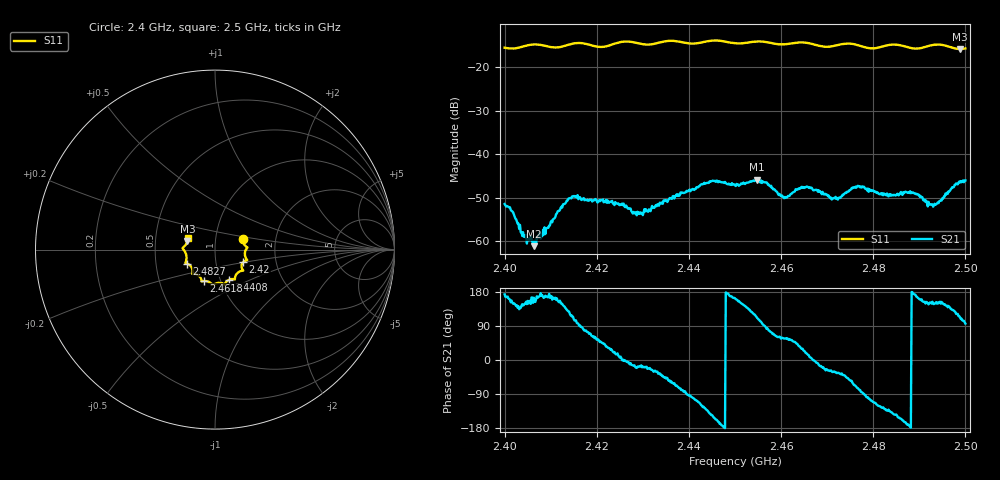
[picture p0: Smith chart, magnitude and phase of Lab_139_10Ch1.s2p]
# Hz S RI R 50
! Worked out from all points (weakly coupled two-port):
!   601 points, 2.4 GHz to 2.5 GHz, reference 50 ohm
!   highest |S21| = -45.88 dB at 2.4547 GHz (marker M1); lowest = -61.1 dB at 2.4063 GHz (marker M2)
!   lowest |S11| = -15.9 dB at 2.4988 GHz (marker M3), VSWR 1.38, Z = 36.5 + j3.39 ohm
!   |S11| at or under -10 dB: start of sweep to end of sweep
!   S12 and S22 are empty: the file has one direction only
!   S11 on the Smith chart (normalised r, x): 2.4 GHz: 1.35, +0.17; 2.42 GHz: 1.36, -0.19; 2.4408 GHz: 1.10, -0.38; 2.4618 GHz: 0.84, -0.30; 2.4827 GHz: 0.72, -0.12; 2.5 GHz: 0.73, +0.09
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2.4e9  0.1552 0.0616  -0.00266 0.000324  0 0  0 0
2.404333e9  0.1732 0.0167  -0.000988 0.000614  0 0  0 0
2.406333e9  0.1812 0.0125  -0.000847 0.000239  0 0  0 0
2.413833e9  0.1731 -0.0494  -0.00192 0.00241  0 0  0 0
2.416667e9  0.1786 -0.059  0.000127 0.00297  0 0  0 0
2.42e9  0.1569 -0.0693  0.00172 0.00233  0 0  0 0
2.428833e9  0.146 -0.1187  0.00209 -0.000657  0 0  0 0
2.433333e9  0.1119 -0.1527  0.00215 -0.00158  0 0  0 0
2.440833e9  0.078 -0.1685  -0.00069 -0.00394  0 0  0 0
2.445e9  0.0537 -0.1936  -0.00404 -0.00281  0 0  0 0
2.45e9  0.0273 -0.1853  -0.0042 0.0013  0 0  0 0
2.454667e9  -0.00968 -0.1961  -0.00204 0.00466  0 0  0 0
2.461833e9  -0.061 -0.175  0.00189 0.00273  0 0  0 0
2.466667e9  -0.0762 -0.1682  0.0041 0.000248  0 0  0 0
2.471167e9  -0.107 -0.1362  0.00261 -0.00162  0 0  0 0
2.4765e9  -0.1254 -0.1283  0.00122 -0.00409  0 0  0 0
2.482667e9  -0.1577 -0.0777  -0.00218 -0.00263  0 0  0 0
2.483333e9  -0.1617 -0.0764  -0.00216 -0.00247  0 0  0 0
2.4885e9  -0.1585 -0.0428  -0.00359 7.69e-05  0 0  0 0
2.493167e9  -0.1799 0.00485  -0.0022 0.0014  0 0  0 0
2.498833e9  -0.1541 0.0453  -0.00181 0.00437  0 0  0 0
2.5e9  -0.1512 0.0626  -0.000539 0.00497  0 0  0 0
